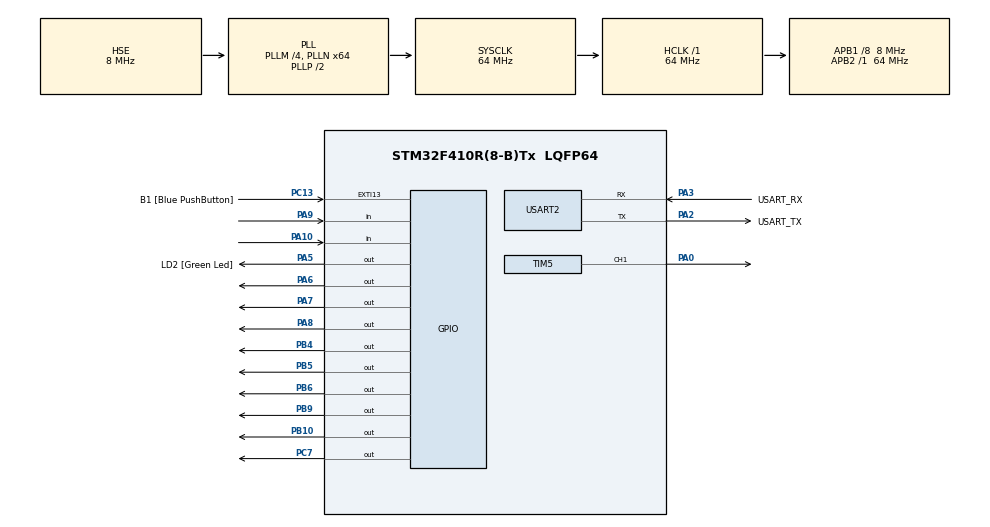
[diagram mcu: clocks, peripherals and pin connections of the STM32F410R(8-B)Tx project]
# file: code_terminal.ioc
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Mcu.Family=STM32F4
Mcu.Name=STM32F410R(8-B)Tx
Mcu.Package=LQFP64
NVIC.PriorityGroup=NVIC_PRIORITYGROUP_0
PA0-WKUP.Signal=S_TIM5_CH1
PA10.Signal=GPIO_Input
PA13.GPIO_Label=TMS
PA13.Mode=Serial_Wire
PA13.Signal=SYS_JTMS-SWDIO
PA14.GPIO_Label=TCK
PA14.Mode=Serial_Wire
PA14.Signal=SYS_JTCK-SWCLK
PA2.GPIO_Label=USART_TX
PA2.Mode=Asynchronous
PA2.Signal=USART2_TX
PA3.GPIO_Label=USART_RX
PA3.Mode=Asynchronous
PA3.Signal=USART2_RX
PA5.GPIO_Label=LD2 [Green Led]
PA5.Signal=GPIO_Output
PA6.Signal=GPIO_Output
PA7.Signal=GPIO_Output
PA8.Signal=GPIO_Output
PA9.Signal=GPIO_Input
PB10.Signal=GPIO_Output
PB3.GPIO_Label=SWO
PB3.Signal=SYS_JTDO-SWO
PB4.Signal=GPIO_Output
PB5.Signal=GPIO_Output
PB6.Signal=GPIO_Output
PB9.Signal=GPIO_Output
PC13-ANTI_TAMP.GPIO_Label=B1 [Blue PushButton]
PC13-ANTI_TAMP.GPIO_ModeDefaultEXTI=GPIO_MODE_IT_FALLING
PC13-ANTI_TAMP.Signal=GPXTI13
PC14-OSC32_IN.Mode=LSE-External-Oscillator
PC14-OSC32_IN.Signal=RCC_OSC32_IN
PC15-OSC32_OUT.Mode=LSE-External-Oscillator
PC15-OSC32_OUT.Signal=RCC_OSC32_OUT
PC7.Signal=GPIO_Output
PH0\ -\ OSC_IN.Mode=HSE-External-Clock-Source
PH0\ -\ OSC_IN.Signal=RCC_OSC_IN
PH1\ -\ OSC_OUT.Mode=HSE-External-Clock-Source
PH1\ -\ OSC_OUT.Signal=RCC_OSC_OUT
ProjectManager.HeapSize=0x200
ProjectManager.StackSize=0x400
ProjectManager.TargetToolchain=MDK-ARM V5
RCC.48MHZClocksFreq_Value=32000000
RCC.AHBFreq_Value=64000000
RCC.APB1CLKDivider=RCC_HCLK_DIV8
RCC.APB1Freq_Value=8000000
RCC.APB1TimFreq_Value=16000000
RCC.APB2Freq_Value=64000000
RCC.APB2TimFreq_Value=64000000
RCC.CortexFreq_Value=64000000
RCC.FLatency-AdvancedSettings=FLASH_LATENCY_1
RCC.HCLKFreq_Value=64000000
RCC.HSE_VALUE=8000000
RCC.HSI_VALUE=16000000
RCC.PLLM=4
RCC.PLLN=64
RCC.PLLSourceVirtual=RCC_PLLSOURCE_HSE
RCC.SYSCLKFreq_VALUE=64000000
RCC.SYSCLKSource=RCC_SYSCLKSOURCE_PLLCLK
RCC.VCOOutputFreq_Value=128000000
SH.S_TIM5_CH1.0=TIM5_CH1,PWM Generation1 CH1
TIM1.Period=0xffff-1
TIM1.Prescaler=100-1
TIM5.Channel-PWM\ Generation1\ CH1=TIM_CHANNEL_1
TIM5.Period=2000
TIM5.Prescaler=160
USART2.VirtualMode=VM_ASYNC
VP_TIM1_VS_ClockSourceINT.Mode=Internal
VP_TIM5_VS_ClockSourceINT.Mode=Internal
board=NUCLEO-F410RB

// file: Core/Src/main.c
/* USER CODE BEGIN Header */
/**
  ******************************************************************************
  * @file           : main.c
  * @brief          : Main program body
  ******************************************************************************
  * @attention
  *
  * <h2><center>&copy; Copyright (c) 2021 STMicroelectronics.
  * All rights reserved.</center></h2>
  *
  * This software component is licensed by ST under BSD 3-Clause license,
  * the "License"; You may not use this file except in compliance with the
  * License. You may obtain a copy of the License at:
  *                        opensource.org/licenses/BSD-3-Clause
  *
  ******************************************************************************
  */
/* USER CODE END Header */
#include "main.h"

/* USER CODE BEGIN Includes */
#include "LCD1602.h"
#include <string.h>
#include <stdio.h>
/* USER CODE END Includes */

TIM_HandleTypeDef htim1;
TIM_HandleTypeDef htim5;

UART_HandleTypeDef huart2;

void SystemClock_Config(void);
static void MX_GPIO_Init(void);
static void MX_TIM5_Init(void);
static void MX_USART2_UART_Init(void);
static void MX_TIM1_Init(void);
/* USER CODE BEGIN PFP */
void servo_write(int);
void servo_sweep(void);
int map(int, int, int, int, int);
//void ouvrir(void);
//void fermer(void);
/* USER CODE END PFP */

/* USER CODE BEGIN 0 */

int total = 6;
int space;
int flag1 = 0;
int flag2 = 0;
int occupe;
/* USER CODE END 0 */

int main(void)
{

  /* MCU Configuration--------------------------------------------------------*/

  /* Reset of all peripherals, Initializes the Flash interface and the Systick. */
  HAL_Init();

  /* Configure the system clock */
  SystemClock_Config();

  /* Initialize all configured peripherals */
  MX_GPIO_Init();
  MX_TIM5_Init();
  MX_USART2_UART_Init();
  MX_TIM1_Init();
  /* USER CODE BEGIN 2 */
HAL_TIM_PWM_Start(&htim5, TIM_CHANNEL_1);
HAL_TIM_Base_Start(&htim1);
  servo_write(100);
  /*lcd_init ();
  lcd_put_cur(0, 0);
  lcd_send_string("car parking");
	lcd_put_cur(0, 1);
	lcd_send_string("systeme");
	HAL_Delay(3000);
  lcd_clear();*/
	space = total;
	printf("hello\n");

	GPIO_PinState PinState;
	GPIO_PinState PinState2;
  /* USER CODE END 2 */

  /* Infinite loop */
  while (1)
  {

		PinState = HAL_GPIO_ReadPin( GPIOA, GPIO_PIN_9); 		// get current state of pin
		PinState2 = HAL_GPIO_ReadPin( GPIOA, GPIO_PIN_10);

    if ( PinState == 0 && flag1 ==0 )
		//if ( PinState == 0 )
		{
			if(space>0)
			{
			flag1=1;
				if(flag2==0){

		    printf("voitureentrante\n");
			 HAL_GPIO_WritePin( GPIOB, GPIO_PIN_9, 1);
			printf("voituredetectИ\n");

					servo_write(0);
			printf("ouvertureporte\n");

				space = space-1;
				printf("libre %d\n",space);
					occupe=total-space;
					printf("occupe %d \n",occupe);
				}
			}

			else
			{
				printf("sorry not espace\n");

			lcd_put_cur(0,0);
			lcd_send_string("sorry not space");
			lcd_put_cur(0,1);
			lcd_send_string("available");
			HAL_Delay(1000);
			lcd_clear();

			}
		}
		if(PinState2 == 0 && flag2 ==0)

		{

			flag2=1;
			if(flag1==0)
			{ HAL_GPIO_WritePin( GPIOA, GPIO_PIN_8, 1);
			  printf("voituresortante\n");

				servo_write(0);
						printf("ouvertureporte2\n");

			 space = space+1;
     printf("libre %d \n ",space);
      occupe=total-space;
					printf("occupe %d \n",occupe);
			}

		}
		if(flag1 ==1 && flag2==1)
		{
		 HAL_Delay(1000);
		 servo_write(100);
			printf("fermeture\n");
		 flag1=0;
		 flag2=0;

		}

		lcd_put_cur(0,0);
		lcd_send_string("total space : ");
		lcd_send_data(total);
		lcd_put_cur(0,1);
		lcd_send_string("have space");
		lcd_send_data(space);
		}
	}

void servo_write(int angle)
{
	htim5.Instance->CCR1 = map(0,180,50,250,angle);
}

void servo_sweep(void)
{
		for(int i = 0; i <= 180; i++)
		{
			servo_write(i);
			HAL_Delay(10);
		}
		for(int i = 180; i >= 0; i--)
		{
			servo_write(i);
			HAL_Delay(10);
		}
}

int map(int st1, int fn1, int st2, int fn2, int value)
{
    return (1.0*(value-st1))/((fn1-st1)*1.0) * (fn2-st2)+st2;
}

void SystemClock_Config(void)
{
  RCC_OscInitTypeDef RCC_OscInitStruct = {0};
  RCC_ClkInitTypeDef RCC_ClkInitStruct = {0};

  /** Configure the main internal regulator output voltage
  */
  __HAL_RCC_PWR_CLK_ENABLE();
  __HAL_PWR_VOLTAGESCALING_CONFIG(PWR_REGULATOR_VOLTAGE_SCALE1);
  /** Initializes the RCC Oscillators according to the specified parameters
  * in the RCC_OscInitTypeDef structure.
  */
  RCC_OscInitStruct.OscillatorType = RCC_OSCILLATORTYPE_HSE;
  RCC_OscInitStruct.HSEState = RCC_HSE_BYPASS;
  RCC_OscInitStruct.PLL.PLLState = RCC_PLL_ON;
  RCC_OscInitStruct.PLL.PLLSource = RCC_PLLSOURCE_HSE;
  RCC_OscInitStruct.PLL.PLLM = 4;
  RCC_OscInitStruct.PLL.PLLN = 64;
  RCC_OscInitStruct.PLL.PLLP = RCC_PLLP_DIV2;
  RCC_OscInitStruct.PLL.PLLQ = 4;
  RCC_OscInitStruct.PLL.PLLR = 2;
  if (HAL_RCC_OscConfig(&RCC_OscInitStruct) != HAL_OK)
  {
    Error_Handler();
  }
  /** Initializes the CPU, AHB and APB buses clocks
  */
  RCC_ClkInitStruct.ClockType = RCC_CLOCKTYPE_HCLK|RCC_CLOCKTYPE_SYSCLK
                              |RCC_CLOCKTYPE_PCLK1|RCC_CLOCKTYPE_PCLK2;
  RCC_ClkInitStruct.SYSCLKSource = RCC_SYSCLKSOURCE_PLLCLK;
  RCC_ClkInitStruct.AHBCLKDivider = RCC_SYSCLK_DIV1;
  RCC_ClkInitStruct.APB1CLKDivider = RCC_HCLK_DIV8;
  RCC_ClkInitStruct.APB2CLKDivider = RCC_HCLK_DIV1;

  if (HAL_RCC_ClockConfig(&RCC_ClkInitStruct, FLASH_LATENCY_1) != HAL_OK)
  {
    Error_Handler();
  }
}

static void MX_TIM1_Init(void)
{

  TIM_ClockConfigTypeDef sClockSourceConfig = {0};
  TIM_MasterConfigTypeDef sMasterConfig = {0};

  htim1.Instance = TIM1;
  htim1.Init.Prescaler = 100-1;
  htim1.Init.CounterMode = TIM_COUNTERMODE_UP;
  htim1.Init.Period = 0xffff-1;
  htim1.Init.ClockDivision = TIM_CLOCKDIVISION_DIV1;
  htim1.Init.RepetitionCounter = 0;
  htim1.Init.AutoReloadPreload = TIM_AUTORELOAD_PRELOAD_DISABLE;
  if (HAL_TIM_Base_Init(&htim1) != HAL_OK)
  {
    Error_Handler();
  }
  sClockSourceConfig.ClockSource = TIM_CLOCKSOURCE_INTERNAL;
  if (HAL_TIM_ConfigClockSource(&htim1, &sClockSourceConfig) != HAL_OK)
  {
    Error_Handler();
  }
  sMasterConfig.MasterOutputTrigger = TIM_TRGO_RESET;
  sMasterConfig.MasterSlaveMode = TIM_MASTERSLAVEMODE_DISABLE;
  if (HAL_TIMEx_MasterConfigSynchronization(&htim1, &sMasterConfig) != HAL_OK)
  {
    Error_Handler();
  }

}

static void MX_TIM5_Init(void)
{

  TIM_ClockConfigTypeDef sClockSourceConfig = {0};
  TIM_MasterConfigTypeDef sMasterConfig = {0};
  TIM_OC_InitTypeDef sConfigOC = {0};

  htim5.Instance = TIM5;
  htim5.Init.Prescaler = 160;
  htim5.Init.CounterMode = TIM_COUNTERMODE_UP;
  htim5.Init.Period = 2000;
  htim5.Init.ClockDivision = TIM_CLOCKDIVISION_DIV1;
  htim5.Init.AutoReloadPreload = TIM_AUTORELOAD_PRELOAD_DISABLE;
  if (HAL_TIM_Base_Init(&htim5) != HAL_OK)
  {
    Error_Handler();
  }
  sClockSourceConfig.ClockSource = TIM_CLOCKSOURCE_INTERNAL;
  if (HAL_TIM_ConfigClockSource(&htim5, &sClockSourceConfig) != HAL_OK)
  {
    Error_Handler();
  }
  if (HAL_TIM_PWM_Init(&htim5) != HAL_OK)
  {
    Error_Handler();
  }
  sMasterConfig.MasterOutputTrigger = TIM_TRGO_RESET;
  sMasterConfig.MasterSlaveMode = TIM_MASTERSLAVEMODE_DISABLE;
  if (HAL_TIMEx_MasterConfigSynchronization(&htim5, &sMasterConfig) != HAL_OK)
  {
    Error_Handler();
  }
  sConfigOC.OCMode = TIM_OCMODE_PWM1;
  sConfigOC.Pulse = 0;
  sConfigOC.OCPolarity = TIM_OCPOLARITY_HIGH;
  sConfigOC.OCFastMode = TIM_OCFAST_DISABLE;
  if (HAL_TIM_PWM_ConfigChannel(&htim5, &sConfigOC, TIM_CHANNEL_1) != HAL_OK)
  {
    Error_Handler();
  }
  HAL_TIM_MspPostInit(&htim5);

}

static void MX_USART2_UART_Init(void)
{

  huart2.Instance = USART2;
  huart2.Init.BaudRate = 115200;
  huart2.Init.WordLength = UART_WORDLENGTH_8B;
  huart2.Init.StopBits = UART_STOPBITS_1;
  huart2.Init.Parity = UART_PARITY_NONE;
  huart2.Init.Mode = UART_MODE_TX_RX;
  huart2.Init.HwFlowCtl = UART_HWCONTROL_NONE;
  huart2.Init.OverSampling = UART_OVERSAMPLING_16;
  if (HAL_UART_Init(&huart2) != HAL_OK)
  {
    Error_Handler();
  }

}

static void MX_GPIO_Init(void)
{
  GPIO_InitTypeDef GPIO_InitStruct = {0};

  /* GPIO Ports Clock Enable */
  __HAL_RCC_GPIOC_CLK_ENABLE();
  __HAL_RCC_GPIOH_CLK_ENABLE();
  __HAL_RCC_GPIOA_CLK_ENABLE();
  __HAL_RCC_GPIOB_CLK_ENABLE();

  /*Configure GPIO pin Output Level */
  HAL_GPIO_WritePin(GPIOA, LD2_Pin|GPIO_PIN_6|GPIO_PIN_7|GPIO_PIN_8, GPIO_PIN_RESET);

  /*Configure GPIO pin Output Level */
  HAL_GPIO_WritePin(GPIOB, GPIO_PIN_10|GPIO_PIN_4|GPIO_PIN_5|GPIO_PIN_6
                          |GPIO_PIN_9, GPIO_PIN_RESET);

  /*Configure GPIO pin Output Level */
  HAL_GPIO_WritePin(GPIOC, GPIO_PIN_7, GPIO_PIN_RESET);

  /*Configure GPIO pin : B1_Pin */
  GPIO_InitStruct.Pin = B1_Pin;
  GPIO_InitStruct.Mode = GPIO_MODE_IT_FALLING;
  GPIO_InitStruct.Pull = GPIO_NOPULL;
  HAL_GPIO_Init(B1_GPIO_Port, &GPIO_InitStruct);

  /*Configure GPIO pins : LD2_Pin PA6 PA7 PA8 */
  GPIO_InitStruct.Pin = LD2_Pin|GPIO_PIN_6|GPIO_PIN_7|GPIO_PIN_8;
  GPIO_InitStruct.Mode = GPIO_MODE_OUTPUT_PP;
  GPIO_InitStruct.Pull = GPIO_NOPULL;
  GPIO_InitStruct.Speed = GPIO_SPEED_FREQ_LOW;
  HAL_GPIO_Init(GPIOA, &GPIO_InitStruct);

  /*Configure GPIO pins : PB10 PB4 PB5 PB6
                           PB9 */
  GPIO_InitStruct.Pin = GPIO_PIN_10|GPIO_PIN_4|GPIO_PIN_5|GPIO_PIN_6
                          |GPIO_PIN_9;
  GPIO_InitStruct.Mode = GPIO_MODE_OUTPUT_PP;
  GPIO_InitStruct.Pull = GPIO_NOPULL;
  GPIO_InitStruct.Speed = GPIO_SPEED_FREQ_LOW;
  HAL_GPIO_Init(GPIOB, &GPIO_InitStruct);

  /*Configure GPIO pin : PC7 */
  GPIO_InitStruct.Pin = GPIO_PIN_7;
  GPIO_InitStruct.Mode = GPIO_MODE_OUTPUT_PP;
  GPIO_InitStruct.Pull = GPIO_NOPULL;
  GPIO_InitStruct.Speed = GPIO_SPEED_FREQ_LOW;
  HAL_GPIO_Init(GPIOC, &GPIO_InitStruct);

  /*Configure GPIO pins : PA9 PA10 */
  GPIO_InitStruct.Pin = GPIO_PIN_9|GPIO_PIN_10;
  GPIO_InitStruct.Mode = GPIO_MODE_INPUT;
  GPIO_InitStruct.Pull = GPIO_NOPULL;
  HAL_GPIO_Init(GPIOA, &GPIO_InitStruct);

}

void Error_Handler(void)
{
}

/************************ (C) COPYRIGHT STMicroelectronics *****END OF FILE****/
